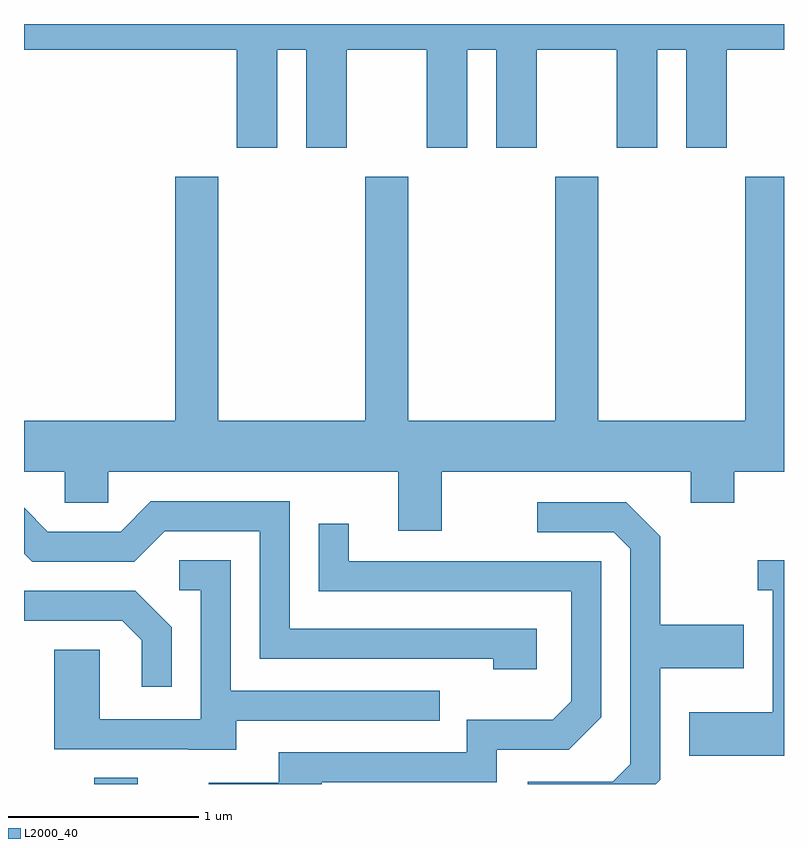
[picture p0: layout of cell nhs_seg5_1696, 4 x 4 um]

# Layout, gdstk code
import gdstk
lib = gdstk.Library(unit=1e-6, precision=1e-09)
def R(c, l, rs):  # rectangles x0, y0, x1, y1
    for r in rs: c.add(gdstk.rectangle(r[:2], r[2:], *l))
def P(c, l, *ps):  # polygons
    for p in ps: c.add(gdstk.Polygon(p, *l))
L2000_40 = (2000, 40)

nhs_seg5_1696 = lib.new_cell('nhs_seg5_1696')
R(nhs_seg5_1696, L2000_40, [(235.981,1424.072,236.209,1424.104)])
P(nhs_seg5_1696, L2000_40, [(236.944,1427.936),(237.096,1427.936),(237.096,1427.421),(237.309,1427.421),(237.309,1427.936),(237.731,1427.936),(237.731,1427.421),(237.944,1427.421),(237.944,1427.936),(238.096,1427.936),(238.096,1427.421),(238.309,1427.421),(238.309,1427.936),(238.731,1427.936),(238.731,1427.421),(238.944,1427.421),(238.944,1427.936),(239.096,1427.936),(239.096,1427.421),(239.309,1427.421),(239.309,1427.936),(239.611,1427.936),(239.611,1428.072),(235.611,1428.072),(235.611,1427.936),(236.731,1427.936),(236.731,1427.421),(236.944,1427.421)],
  [(237.809,1425.716),(239.121,1425.716),(239.121,1425.551),(239.349,1425.551),(239.349,1425.716),(239.611,1425.716),(239.611,1427.269),(239.406,1427.269),(239.406,1425.984),(238.634,1425.984),(238.634,1427.269),(238.406,1427.269),(238.406,1425.984),(237.634,1425.984),(237.634,1427.269),(237.406,1427.269),(237.406,1425.984),(236.634,1425.984),(236.634,1427.269),(236.406,1427.269),(236.406,1425.984),(235.611,1425.984),(235.611,1425.716),(235.826,1425.716),(235.826,1425.551),(236.054,1425.551),(236.054,1425.716),(237.581,1425.716),(237.581,1425.406),(237.809,1425.406)],
  [(238.309,1424.889),(237.009,1424.889),(237.009,1425.559),(236.279,1425.559),(236.119,1425.399),(235.737,1425.399),(235.611,1425.525),(235.611,1425.284),(235.654,1425.241),(236.192,1425.241),(236.352,1425.401),(236.851,1425.401),(236.851,1424.731),(238.081,1424.731),(238.081,1424.676),(238.309,1424.676)],
  [(238.959,1424.094),(238.959,1424.681),(239.399,1424.681),(239.399,1424.909),(238.959,1424.909),(238.959,1425.377),(238.782,1425.554),(238.313,1425.554),(238.313,1425.396),(238.714,1425.396),(238.801,1425.309),(238.801,1424.177),(238.709,1424.084),(238.263,1424.084),(238.263,1424.072),(238.937,1424.072)],
  [(237.179,1424.081),(238.099,1424.081),(238.099,1424.251),(238.477,1424.251),(238.649,1424.424),(238.649,1425.244),(237.319,1425.244),(237.319,1425.443),(237.161,1425.443),(237.161,1425.086),(238.491,1425.086),(238.491,1424.507),(238.394,1424.409),(237.941,1424.409),(237.941,1424.239),(236.951,1424.239),(236.951,1424.079),(236.583,1424.079),(236.583,1424.072),(237.179,1424.072)],
  [(239.611,1425.249),(239.473,1425.249),(239.473,1425.091),(239.551,1425.091),(239.551,1424.449),(239.111,1424.449),(239.111,1424.221),(239.611,1424.221)],
  [(236.729,1424.406),(237.798,1424.406),(237.798,1424.564),(236.699,1424.564),(236.699,1425.249),(236.428,1425.249),(236.428,1425.091),(236.541,1425.091),(236.541,1424.414),(236.009,1424.414),(236.009,1424.779),(235.771,1424.779),(235.771,1424.256),(236.475,1424.256),(236.475,1424.251),(236.729,1424.251)],
  [(236.389,1424.897),(236.197,1425.089),(235.611,1425.089),(235.611,1424.931),(236.129,1424.931),(236.231,1424.829),(236.231,1424.583),(236.389,1424.583)])

lib.write_gds('nhs_seg5_1696.gds')
